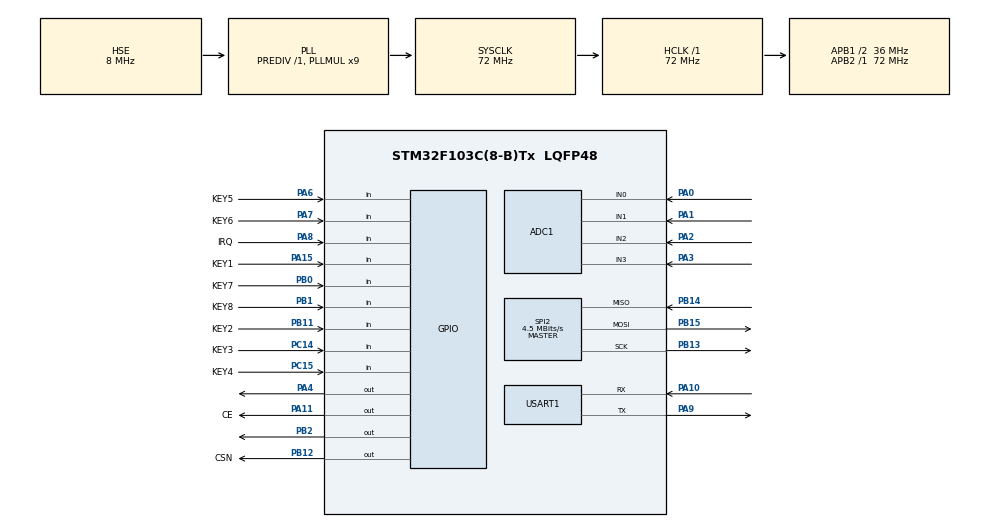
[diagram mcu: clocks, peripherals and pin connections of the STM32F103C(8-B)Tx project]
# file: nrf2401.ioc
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ADC1.Channel-0\#ChannelRegularConversion=ADC_CHANNEL_0
ADC1.NbrOfConversion=1
ADC1.NbrOfConversionFlag=1
ADC1.Rank-0\#ChannelRegularConversion=1
ADC1.SamplingTime-0\#ChannelRegularConversion=ADC_SAMPLETIME_1CYCLE_5
ADC1.master=1
Mcu.Family=STM32F1
Mcu.Name=STM32F103C(8-B)Tx
Mcu.Package=LQFP48
NVIC.PriorityGroup=NVIC_PRIORITYGROUP_4
NVIC.USART1_IRQn=true\:0\:0\:false\:false\:true\:true\:true\:true
PA0-WKUP.Signal=ADCx_IN0
PA1.Signal=ADCx_IN1
PA10.Mode=Asynchronous
PA10.Signal=USART1_RX
PA11.GPIO_Label=CE
PA11.GPIO_Speed=GPIO_SPEED_FREQ_HIGH
PA11.PinState=GPIO_PIN_RESET
PA11.Signal=GPIO_Output
PA13.Mode=Serial_Wire
PA13.Signal=SYS_JTMS-SWDIO
PA14.Mode=Serial_Wire
PA14.Signal=SYS_JTCK-SWCLK
PA15.GPIO_Label=KEY1
PA15.GPIO_PuPd=GPIO_PULLUP
PA15.Signal=GPIO_Input
PA2.Signal=ADCx_IN2
PA3.Signal=ADCx_IN3
PA4.PinState=GPIO_PIN_SET
PA4.Signal=GPIO_Output
PA6.GPIO_Label=KEY5
PA6.GPIO_PuPd=GPIO_PULLUP
PA6.Signal=GPIO_Input
PA7.GPIO_Label=KEY6
PA7.GPIO_PuPd=GPIO_PULLUP
PA7.Signal=GPIO_Input
PA8.GPIO_Label=IRQ
PA8.GPIO_PuPd=GPIO_PULLUP
PA8.Signal=GPIO_Input
PA9.Mode=Asynchronous
PA9.Signal=USART1_TX
PB0.GPIO_Label=KEY7
PB0.GPIO_PuPd=GPIO_PULLUP
PB0.Signal=GPIO_Input
PB1.GPIO_Label=KEY8
PB1.GPIO_PuPd=GPIO_PULLUP
PB1.Signal=GPIO_Input
PB11.GPIO_Label=KEY2
PB11.GPIO_PuPd=GPIO_PULLUP
PB11.Signal=GPIO_Input
PB12.GPIO_Label=CSN
PB12.GPIO_Speed=GPIO_SPEED_FREQ_HIGH
PB12.PinState=GPIO_PIN_SET
PB12.Signal=GPIO_Output
PB13.Mode=Full_Duplex_Master
PB13.Signal=SPI2_SCK
PB14.Mode=Full_Duplex_Master
PB14.Signal=SPI2_MISO
PB15.Mode=Full_Duplex_Master
PB15.Signal=SPI2_MOSI
PB2.Signal=GPIO_Output
PC14-OSC32_IN.GPIO_Label=KEY3
PC14-OSC32_IN.GPIO_PuPd=GPIO_PULLUP
PC14-OSC32_IN.Signal=GPIO_Input
PC15-OSC32_OUT.GPIO_Label=KEY4
PC15-OSC32_OUT.GPIO_PuPd=GPIO_PULLUP
PC15-OSC32_OUT.Signal=GPIO_Input
PD0-OSC_IN.Mode=HSE-External-Oscillator
PD0-OSC_IN.Signal=RCC_OSC_IN
PD1-OSC_OUT.Mode=HSE-External-Oscillator
PD1-OSC_OUT.Signal=RCC_OSC_OUT
ProjectManager.HeapSize=0x200
ProjectManager.StackSize=0x400
ProjectManager.TargetToolchain=MDK-ARM V5
RCC.ADCPresc=RCC_ADCPCLK2_DIV6
RCC.AHBFreq_Value=72000000
RCC.APB1CLKDivider=RCC_HCLK_DIV2
RCC.APB1Freq_Value=36000000
RCC.APB1TimFreq_Value=72000000
RCC.APB2Freq_Value=72000000
RCC.APB2TimFreq_Value=72000000
RCC.HCLKFreq_Value=72000000
RCC.PLLMUL=RCC_PLL_MUL9
RCC.PLLSourceVirtual=RCC_PLLSOURCE_HSE
RCC.SYSCLKFreq_VALUE=72000000
RCC.SYSCLKSource=RCC_SYSCLKSOURCE_PLLCLK
RCC.USBFreq_Value=72000000
SH.ADCx_IN0.0=ADC1_IN0,IN0
SH.ADCx_IN1.0=ADC1_IN1,IN1
SH.ADCx_IN2.0=ADC1_IN2,IN2
SH.ADCx_IN3.0=ADC1_IN3,IN3
SPI2.BaudRatePrescaler=SPI_BAUDRATEPRESCALER_8
SPI2.CRCCalculation=SPI_CRCCALCULATION_DISABLE
SPI2.CalculateBaudRate=4.5 MBits/s
SPI2.Direction=SPI_DIRECTION_2LINES
SPI2.Mode=SPI_MODE_MASTER
SPI2.VirtualType=VM_MASTER
USART1.VirtualMode=VM_ASYNC
board=custom

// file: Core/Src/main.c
/* USER CODE BEGIN Header */
/**
  ******************************************************************************
  * @file           : main.c
  * @brief          : Main program body
  ******************************************************************************
  * @attention
  *
  * Copyright (c) 2023 STMicroelectronics.
  * All rights reserved.
  *
  * This software is licensed under terms that can be found in the LICENSE file
  * in the root directory of this software component.
  * If no LICENSE file comes with this software, it is provided AS-IS.
  *
  ******************************************************************************
  */
/* USER CODE END Header */
#include "main.h"
#include "adc.h"
#include "spi.h"
#include "usart.h"
#include "gpio.h"

/* USER CODE BEGIN Includes */
#include "NRF2401.h"
#include "stdio.h"
#include "key.h"
#include "stdio.h"
#include "string.h"
/* USER CODE END Includes */

void SystemClock_Config(void);
/* USER CODE BEGIN PFP */

extern uint8_t send_buf[33]; //发送数据数组
uint8_t KeyNum=0;
extern uint8_t Usart_RxFlag;
extern uint8_t Usart_RxData;
extern uint8_t Usart_RxPacket[256];
int poslx=0,posly=0,posrx=0,posry=0,key=0;
/* USER CODE END PFP */

int main(void)
{

  /* MCU Configuration--------------------------------------------------------*/

  /* Reset of all peripherals, Initializes the Flash interface and the Systick. */
  HAL_Init();

  /* Configure the system clock */
  SystemClock_Config();

  /* USER CODE BEGIN SysInit */
	 send_buf[8]=100;
	 send_buf[9]=127;
  /* USER CODE END SysInit */

  /* Initialize all configured peripherals */
  MX_GPIO_Init();
  MX_SPI2_Init();
  MX_USART1_UART_Init();
	HAL_UART_Receive_IT(&huart1,&Usart_RxData,1);//这一句不能少，不然接收不到数据
  MX_ADC1_Init();
  /* USER CODE BEGIN 2 */
	 while(NRF24L01_Check())
	{
	}
 	 HAL_GPIO_WritePin(GPIOA, GPIO_PIN_4, GPIO_PIN_RESET);
   NRF24L01_TX_Mode();
  /* USER CODE END 2 */

  /* Infinite loop */
  /* USER CODE BEGIN WHILE */
  while (1)
  {

	KeyNum =KEY_Scan(0);

	if(KeyNum==7){send_buf[4]=0x07;} //修改BUF第五个字节
	if(KeyNum==8){send_buf[4]=0x08;}
	if(KeyNum==1){send_buf[4]=0x01;}
	if(KeyNum==5){send_buf[4]=0x05;}
	if(KeyNum==6){send_buf[4]=0x06;}
	if(KeyNum==3){send_buf[4]=0x03;}
	if(KeyNum==4){send_buf[4]=0x04;}

		poslx = (Get_ADC1_Average(ADC_CHANNEL_0,37) >> 4)-1;// 数组0
	  if(poslx>251)poslx=255; //ADC转化，读取遥感值
	  if(poslx<4)poslx=0;//死区控制
	  posly = (Get_ADC1_Average(ADC_CHANNEL_1,37) >> 4)+1; //数组1
		if(posly>252)posly=255;
		if(posly<2)posly=0;
		posrx = (Get_ADC1_Average(ADC_CHANNEL_3,2) >> 4)-1;//数组2
	  if(posrx>251)posrx=255;
		if(posrx<0)posrx=0;
	  posry = (Get_ADC1_Average(ADC_CHANNEL_2,2) >> 4)-2;//数组3
		if(posry>250)posry=255;
		if(posry<5)posry=0;

	  printf("page0.h0.val=%d\xff\xff\xff",poslx);

		send_buf[0]=poslx;     //第1个字节到第四个字节存左右遥感x,y值

		send_buf[1]= posly ;

		send_buf[2]=posrx;

		send_buf[3]=posry;

    if(NRF24L01_TxPacket(send_buf)==TX_OK)//发送数据
   {
      HAL_GPIO_WritePin(GPIOA, GPIO_PIN_4, GPIO_PIN_RESET);
   }

		HAL_Delay(10);
    memset(send_buf,0x00,5);
    /* USER CODE END WHILE */

  }
}

void SystemClock_Config(void)
{
  RCC_OscInitTypeDef RCC_OscInitStruct = {0};
  RCC_ClkInitTypeDef RCC_ClkInitStruct = {0};
  RCC_PeriphCLKInitTypeDef PeriphClkInit = {0};

  /** Initializes the RCC Oscillators according to the specified parameters
  * in the RCC_OscInitTypeDef structure.
  */
  RCC_OscInitStruct.OscillatorType = RCC_OSCILLATORTYPE_HSE;
  RCC_OscInitStruct.HSEState = RCC_HSE_ON;
  RCC_OscInitStruct.HSEPredivValue = RCC_HSE_PREDIV_DIV1;
  RCC_OscInitStruct.HSIState = RCC_HSI_ON;
  RCC_OscInitStruct.PLL.PLLState = RCC_PLL_ON;
  RCC_OscInitStruct.PLL.PLLSource = RCC_PLLSOURCE_HSE;
  RCC_OscInitStruct.PLL.PLLMUL = RCC_PLL_MUL9;
  if (HAL_RCC_OscConfig(&RCC_OscInitStruct) != HAL_OK)
  {
    Error_Handler();
  }

  /** Initializes the CPU, AHB and APB buses clocks
  */
  RCC_ClkInitStruct.ClockType = RCC_CLOCKTYPE_HCLK|RCC_CLOCKTYPE_SYSCLK
                              |RCC_CLOCKTYPE_PCLK1|RCC_CLOCKTYPE_PCLK2;
  RCC_ClkInitStruct.SYSCLKSource = RCC_SYSCLKSOURCE_PLLCLK;
  RCC_ClkInitStruct.AHBCLKDivider = RCC_SYSCLK_DIV1;
  RCC_ClkInitStruct.APB1CLKDivider = RCC_HCLK_DIV2;
  RCC_ClkInitStruct.APB2CLKDivider = RCC_HCLK_DIV1;

  if (HAL_RCC_ClockConfig(&RCC_ClkInitStruct, FLASH_LATENCY_2) != HAL_OK)
  {
    Error_Handler();
  }
  PeriphClkInit.PeriphClockSelection = RCC_PERIPHCLK_ADC;
  PeriphClkInit.AdcClockSelection = RCC_ADCPCLK2_DIV6;
  if (HAL_RCCEx_PeriphCLKConfig(&PeriphClkInit) != HAL_OK)
  {
    Error_Handler();
  }
}

void Error_Handler(void)
{
  __disable_irq();
  while (1)
  {
  }
}
